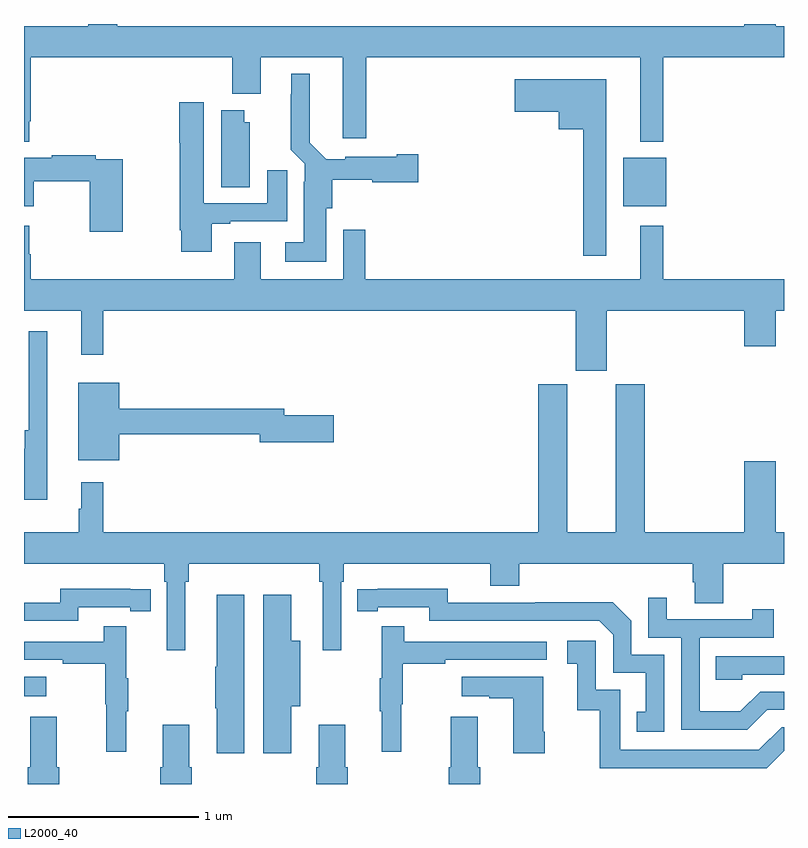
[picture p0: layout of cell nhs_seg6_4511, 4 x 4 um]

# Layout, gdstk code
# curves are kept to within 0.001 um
import gdstk
lib = gdstk.Library(unit=1e-6, precision=1e-09)
def R(c, l, rs):  # rectangles x0, y0, x1, y1
    for r in rs: c.add(gdstk.rectangle(r[:2], r[2:], *l))
def P(c, l, *ps):  # polygons
    for p in ps: c.add(gdstk.Polygon(p, *l))
L2000_40 = (2000, 40)

nhs_seg6_4511 = lib.new_cell('nhs_seg6_4511')
R(nhs_seg6_4511, L2000_40, [(377,955.961,377.116,956.065), (380.153,958.541,380.38,958.795)])
P(nhs_seg6_4511, L2000_40, [(377.028,958.987),(377.035,958.987),(377.035,959.324),(378.095,959.324),(378.095,959.132),(378.247,959.132),(378.247,959.324),(378.677,959.324),(378.677,958.899),(378.8,958.899),(378.8,959.324),(380.243,959.324),(380.243,958.88),(380.365,958.88),(380.365,959.324),(381,959.324),(381,959.488),(380.956,959.488),(380.956,959.5),(380.792,959.5),(380.792,959.488),(377.492,959.488),(377.492,959.5),(377.339,959.5),(377.339,959.488),(377,959.488),(377,958.88),(377.028,958.88)],
  [(378.592,958.53),(378.623,958.53),(378.623,958.679),(378.834,958.679),(378.834,958.667),(379.075,958.667),(379.075,958.814),(378.962,958.814),(378.962,958.801),(378.69,958.801),(378.69,958.789),(378.591,958.789),(378.505,958.876),(378.505,959.239),(378.407,959.239),(378.407,959.129),(378.403,959.129),(378.403,958.838),(378.477,958.764),(378.477,958.67),(378.473,958.67),(378.473,958.351),(378.375,958.351),(378.375,958.25),(378.592,958.25)],
  [(380.065,959.209),(379.584,959.209),(379.584,959.039),(379.814,959.039),(379.814,958.946),(379.944,958.946),(379.944,958.281),(380.065,958.281)],
  [(377.989,958.449),(378.085,958.449),(378.085,958.461),(378.385,958.461),(378.385,958.729),(378.281,958.729),(378.281,958.557),(377.947,958.557),(377.947,959.089),(377.816,959.089),(377.816,958.876),(377.821,958.876),(377.821,958.414),(377.828,958.414),(377.828,958.302),(377.989,958.302)],
  [(378.187,958.983),(378.16,958.983),(378.16,959.047),(378.038,959.047),(378.038,958.642),(378.187,958.642)],
  [(377.52,958.788),(377.378,958.788),(377.378,958.808),(377.146,958.808),(377.146,958.795),(377,958.795),(377,958.541),(377.05,958.541),(377.05,958.672),(377.347,958.672),(377.347,958.407),(377.52,958.407)],
  [(380.068,957.992),(380.792,957.992),(380.792,957.804),(380.956,957.804),(380.956,957.992),(381,957.992),(381,958.156),(380.365,958.156),(380.365,958.438),(380.243,958.438),(380.243,958.156),(378.797,958.156),(378.797,958.417),(378.681,958.417),(378.681,958.156),(378.247,958.156),(378.247,958.351),(378.107,958.351),(378.107,958.156),(377.035,958.156),(377.035,958.289),(377.027,958.289),(377.027,958.438),(377,958.438),(377,957.992),(377.3,957.992),(377.3,957.759),(377.417,957.759),(377.417,957.992),(379.904,957.992),(379.904,957.675),(380.068,957.675)],
  [(377.122,957.883),(377.025,957.883),(377.025,957.361),(377.005,957.361),(377.005,957.265),(377,957.265),(377,956.996),(377.122,956.996)],
  [(377.5,957.34),(378.242,957.34),(378.242,957.298),(378.631,957.298),(378.631,957.44),(378.37,957.44),(378.37,957.476),(377.5,957.476),(377.5,957.613),(377.285,957.613),(377.285,957.203),(377.5,957.203)],
  [(377.848,956.564),(377.867,956.564),(377.867,956.66),(378.553,956.66),(378.553,956.564),(378.572,956.564),(378.572,956.205),(378.669,956.205),(378.669,956.564),(378.683,956.564),(378.683,956.66),(379.454,956.66),(379.454,956.543),(379.607,956.543),(379.607,956.66),(380.519,956.66),(380.519,956.562),(380.531,956.562),(380.531,956.452),(380.679,956.452),(380.679,956.66),(381,956.66),(381,956.824),(380.956,956.824),(380.956,957.199),(380.792,957.199),(380.792,956.824),(380.267,956.824),(380.267,957.603),(380.114,957.603),(380.114,956.824),(379.858,956.824),(379.858,957.603),(379.706,957.603),(379.706,956.824),(377.417,956.824),(377.417,957.088),(377.3,957.088),(377.3,956.948),(377.289,956.948),(377.289,956.824),(377,956.824),(377,956.66),(377.738,956.66),(377.738,956.564),(377.751,956.564),(377.751,956.205),(377.848,956.205)],
  [(380.37,956.181),(380.196,956.181),(380.196,956.358),(380.098,956.456),(379.69,956.456),(379.69,956.454),(379.23,956.454),(379.23,956.527),(378.754,956.526),(378.754,956.41),(378.862,956.41),(378.862,956.43),(379.134,956.43),(379.134,956.358),(380.028,956.358),(380.1,956.286),(380.1,956.085),(380.273,956.085),(380.273,955.881),(380.224,955.881),(380.224,955.776),(380.37,955.776)],
  [(377.286,956.43),(377.558,956.43),(377.558,956.41),(377.666,956.41),(377.666,956.526),(377.558,956.526),(377.558,956.527),(377.19,956.527),(377.19,956.454),(377,956.454),(377,956.358),(377.286,956.358)],
  [(378.16,956.497),(378.014,956.497),(378.014,956.117),(378.007,956.117),(378.007,955.9),(378.014,955.9),(378.014,955.662),(378.16,955.662)],
  [(378.406,955.91),(378.454,955.91),(378.454,956.254),(378.406,956.254),(378.406,956.497),(378.26,956.497),(378.26,955.662),(378.406,955.662)],
  [(380.911,955.89),(381,955.89),(381,955.986),(380.874,955.986),(380.77,955.882),(380.556,955.882),(380.556,956.271),(380.945,956.271),(380.945,956.419),(380.834,956.419),(380.834,956.367),(380.383,956.367),(380.383,956.479),(380.286,956.479),(380.286,956.271),(380.46,956.271),(380.46,955.785),(380.806,955.785)],
  [(377.537,955.883),(377.548,955.883),(377.548,956.057),(377.537,956.057),(377.537,956.329),(377.419,956.329),(377.419,956.25),(377,956.25),(377,956.154),(377.203,956.154),(377.203,956.134),(377.427,956.134),(377.427,955.92),(377.434,955.92),(377.434,955.671),(377.537,955.671)],
  [(378.986,955.92),(378.994,955.92),(378.994,956.134),(379.217,956.134),(379.217,956.154),(379.75,956.154),(379.75,956.25),(379.001,956.25),(379.001,956.329),(378.884,956.329),(378.884,956.057),(378.873,956.057),(378.873,955.883),(378.884,955.883),(378.884,955.671),(378.986,955.671)],
  [(381,955.674),(381,955.8),(380.988,955.8),(380.868,955.68),(380.139,955.68),(380.139,955.995),(380.01,955.995),(380.01,956.254),(379.86,956.254),(379.86,956.133),(379.913,956.133),(379.913,955.887),(380.031,955.887),(380.031,955.584),(380.91,955.584)],
  [(380.781,956.076),(381,956.076),(381,956.172),(380.641,956.172),(380.641,956.049),(380.781,956.049)],
  [(379.74,955.774),(379.732,955.774),(379.732,956.065),(379.305,956.065),(379.305,955.961),(379.448,955.961),(379.448,955.951),(379.574,955.951),(379.574,955.662),(379.74,955.662)],
  [(377.186,955.588),(377.173,955.588),(377.173,955.855),(377.033,955.855),(377.033,955.588),(377.021,955.588),(377.021,955.5),(377.186,955.5)],
  [(379.4,955.588),(379.387,955.588),(379.387,955.855),(379.247,955.855),(379.247,955.588),(379.235,955.588),(379.235,955.5),(379.4,955.5)],
  [(377.882,955.588),(377.869,955.588),(377.869,955.813),(377.729,955.813),(377.729,955.588),(377.717,955.588),(377.717,955.5),(377.882,955.5)],
  [(378.704,955.588),(378.691,955.588),(378.691,955.813),(378.551,955.813),(378.551,955.588),(378.539,955.588),(378.539,955.5),(378.704,955.5)])

lib.write_gds('nhs_seg6_4511.gds')
